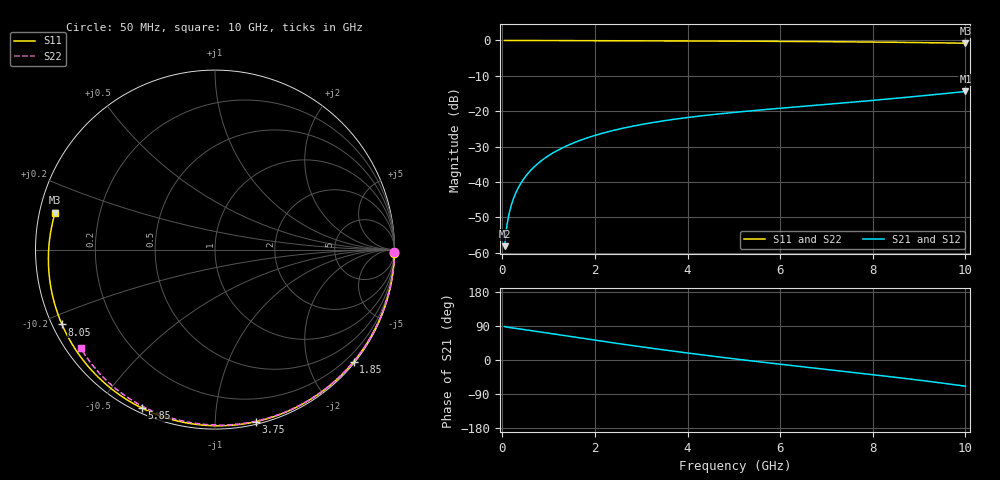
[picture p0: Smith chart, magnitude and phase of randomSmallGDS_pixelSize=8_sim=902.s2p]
! freq	dB(S11)	phase(S11)	dB(S12)	phase(S12)
!  dB(S21)	phase(S21)	dB(S22)	phase(S22)
!S-par simulation data
#  GHz  S  DB  R 50
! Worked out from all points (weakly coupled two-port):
!   200 points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, 50 MHz to 10 GHz, reference 50 ohm
!   highest |S21| = -14.42 dB at 10 GHz (marker M1); lowest = -58.1 dB at 50 MHz (marker M2)
!   lowest |S11| = -0.8 dB at 10 GHz (marker M3), VSWR 22.27, Z = 2.27 + j5.69 ohm
!   |S11| at or under -10 dB: nowhere
!   |S22| runs from -0.7 to 0.0 dB; largest |S21 - S12| = 0
!   S11 on the Smith chart (normalised r, x): 50 MHz: open; 1.85 GHz: 0.03, -2.82; 3.75 GHz: 0.02, -1.27; 5.85 GHz: 0.02, -0.64; 8.05 GHz: 0.03, -0.23; 10 GHz: 0.05, +0.11
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0.05  -0.00 -1.1  -58.11 88.3  -58.11 88.3  -0.00 -0.8
0.1  -0.00 -2.2  -52.17 86.9  -52.17 86.9  -0.00 -1.7
0.15  -0.00 -3.2  -48.72 85.9  -48.72 85.9  -0.00 -2.5
0.2  -0.00 -4.3  -46.28 85.0  -46.28 85.0  -0.00 -3.4
0.35  -0.01 -7.5  -41.50 82.4  -41.50 82.4  -0.00 -5.9
0.5  -0.01 -10.7  -38.44 79.8  -38.44 79.8  -0.01 -8.5
0.7  -0.02 -15.0  -35.56 76.1  -35.56 76.1  -0.01 -11.8
1  -0.03 -21.3  -32.53 70.6  -32.53 70.6  -0.02 -16.8
1.35  -0.04 -28.7  -30.01 64.1  -30.01 64.1  -0.03 -22.6
1.75  -0.05 -37.0  -27.89 56.8  -27.89 56.8  -0.04 -29.2
1.85  -0.06 -39.0  -27.44 55.0  -27.44 55.0  -0.05 -30.8
2.65  -0.08 -55.2  -24.66 40.8  -24.66 40.8  -0.07 -43.6
3.4  -0.11 -69.8  -22.87 28.1  -22.87 28.1  -0.09 -55.3
3.75  -0.13 -76.5  -22.20 22.4  -22.20 22.4  -0.11 -60.6
4.4  -0.16 -88.6  -21.14 12.2  -21.14 12.2  -0.13 -70.2
5.05  -0.19 -100.5  -20.26 2.4  -20.26 2.4  -0.16 -79.5
5.85  -0.24 -114.7  -19.32 -9.0  -19.32 -9.0  -0.20 -90.6
6.7  -0.31 -129.7  -18.38 -20.8  -18.38 -20.8  -0.25 -102.0
8.05  -0.45 -154.0  -16.87 -39.4  -16.87 -39.4  -0.37 -119.3
8.35  -0.49 -159.5  -16.52 -43.6  -16.52 -43.6  -0.41 -123.1
9.2  -0.63 -176.1  -15.47 -56.2  -15.47 -56.2  -0.52 -133.7
10  -0.78 167.0  -14.42 -69.1  -14.42 -69.1  -0.65 -143.6
